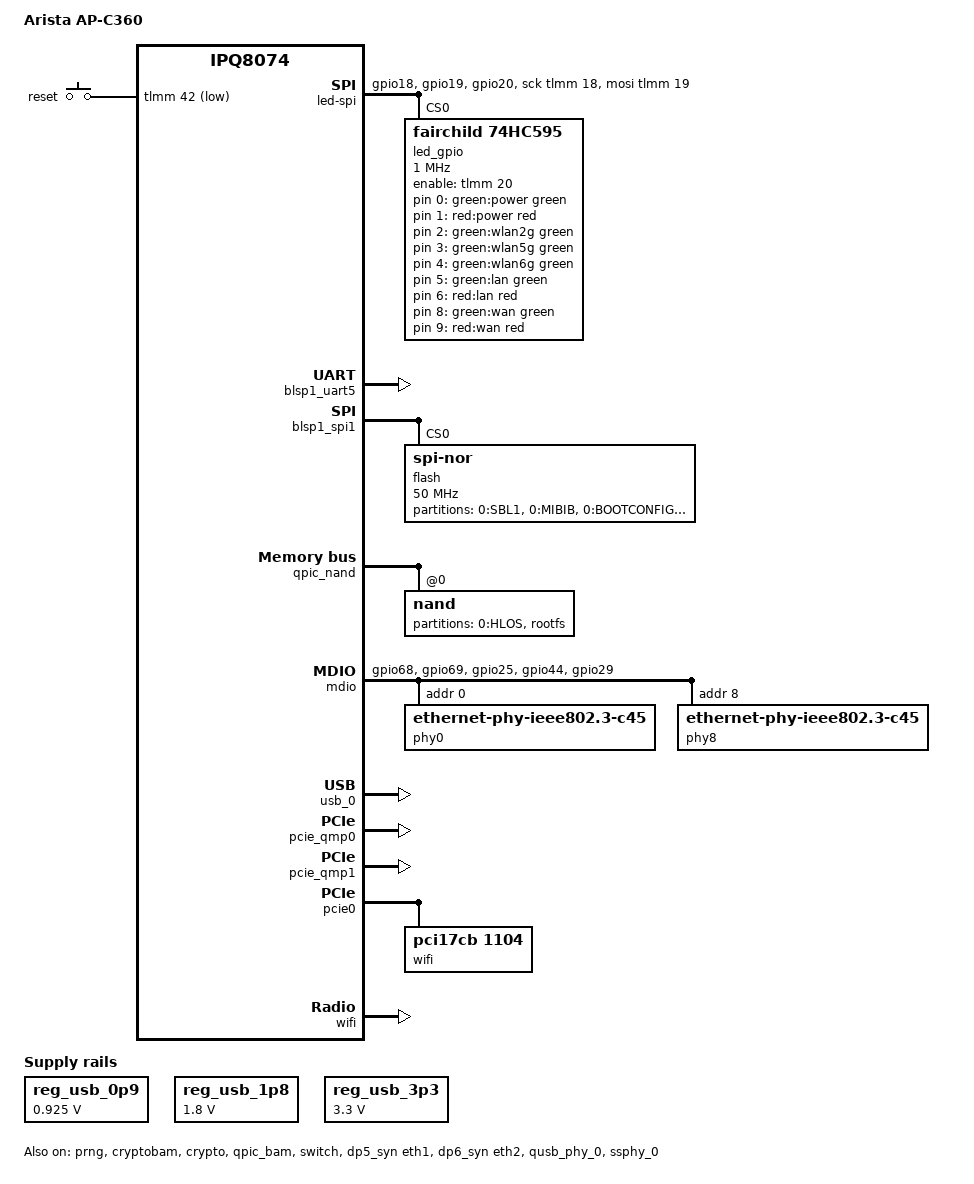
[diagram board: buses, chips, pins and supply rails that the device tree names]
// SPDX-License-Identifier: GPL-2.0-or-later OR MIT

/dts-v1/;

#include "ipq8074.dtsi"
#include "ipq8074-hk-cpu.dtsi"
#include "ipq8074-ess.dtsi"
#include "ipq8074-nss.dtsi"

#include <dt-bindings/gpio/gpio.h>
#include <dt-bindings/input/input.h>
#include <dt-bindings/leds/common.h>

/ {
	model = "Arista AP-C360";
	compatible = "arista,c360", "qcom,ipq8074";

	aliases {
		serial0 = &blsp1_uart5;
		ethernet0 = &dp5_syn;
		ethernet1 = &dp6_syn;
		label-mac-device = &dp5_syn;

		led-boot = &led_power_green;
		led-failsafe = &led_power_red;
		led-running = &led_power_green;
		led-upgrade = &led_power_red;
	};

	chosen {
		stdout-path = "serial0:115200n8";
		bootargs-append = " ubi.mtd=rootfs ubi.block=0,rootfs root=/dev/ubiblock0_0 rootfstype=squashfs rootwait coherent_pool=2M pcie_aspm=off";
	};

	keys {
		compatible = "gpio-keys";
		pinctrl-0 = <&button_pins>;
		pinctrl-names = "default";

		reset {
			label = "reset";
			gpios = <&tlmm 42 GPIO_ACTIVE_LOW>;
			linux,code = <KEY_RESTART>;
			debounce-interval = <60>;
		};
	};

	led-spi {
		compatible = "spi-gpio";
		pinctrl-0 = <&led_spi_pins>;
		pinctrl-names = "default";
		#address-cells = <1>;
		#size-cells = <0>;

		sck-gpios = <&tlmm 18 GPIO_ACTIVE_HIGH>;
		mosi-gpios = <&tlmm 19 GPIO_ACTIVE_HIGH>;

		led_gpio: led-gpio@0 {
			compatible = "fairchild,74hc595";
			reg = <0>;
			gpio-controller;
			#gpio-cells = <2>;
			registers-number = <2>;
			enable-gpios = <&tlmm 20 GPIO_ACTIVE_HIGH>;
			spi-max-frequency = <1000000>;
		};
	};

	leds {
		compatible = "gpio-leds";

		led_power_green: power-green {
			label = "green:power";
			color = <LED_COLOR_ID_GREEN>;
			function = LED_FUNCTION_POWER;
			gpios = <&led_gpio 0 GPIO_ACTIVE_HIGH>;
			default-state = "on";
		};

		led_power_red: power-red {
			label = "red:power";
			color = <LED_COLOR_ID_RED>;
			function = LED_FUNCTION_POWER;
			gpios = <&led_gpio 1 GPIO_ACTIVE_HIGH>;
			default-state = "off";
		};

		led_wlan2g_green: wlan2g-green {
			label = "green:wlan2g";
			color = <LED_COLOR_ID_GREEN>;
			function = LED_FUNCTION_WLAN_2GHZ;
			gpios = <&led_gpio 2 GPIO_ACTIVE_HIGH>;
			default-state = "off";
		};

		led_wlan5g_green: wlan5g-green {
			label = "green:wlan5g";
			color = <LED_COLOR_ID_GREEN>;
			function = LED_FUNCTION_WLAN_5GHZ;
			gpios = <&led_gpio 3 GPIO_ACTIVE_HIGH>;
			default-state = "off";
		};

		led_wlan6g_green: wlan6g-green {
			label = "green:wlan6g";
			color = <LED_COLOR_ID_GREEN>;
			function = LED_FUNCTION_WLAN_6GHZ;
			gpios = <&led_gpio 4 GPIO_ACTIVE_HIGH>;
			default-state = "off";
		};

		led_lan_green: lan-green {
			label = "green:lan";
			color = <LED_COLOR_ID_GREEN>;
			function = LED_FUNCTION_LAN;
			gpios = <&led_gpio 5 GPIO_ACTIVE_HIGH>;
			default-state = "off";
		};

		led_lan_red: lan-red {
			label = "red:lan";
			color = <LED_COLOR_ID_RED>;
			function = LED_FUNCTION_LAN;
			gpios = <&led_gpio 6 GPIO_ACTIVE_HIGH>;
			default-state = "off";
		};

		led_wan_green: wan-green {
			label = "green:wan";
			color = <LED_COLOR_ID_GREEN>;
			function = LED_FUNCTION_WAN;
			gpios = <&led_gpio 8 GPIO_ACTIVE_HIGH>;
			default-state = "off";
		};

		led_wan_red: wan-red {
			label = "red:wan";
			color = <LED_COLOR_ID_RED>;
			function = LED_FUNCTION_WAN;
			gpios = <&led_gpio 9 GPIO_ACTIVE_HIGH>;
			default-state = "off";
		};
	};

	reg_usb_0p9: regulator-usb-0p9 {
		compatible = "regulator-fixed";
		regulator-name = "usb_0p9";
		regulator-min-microvolt = <925000>;
		regulator-max-microvolt = <925000>;
		regulator-always-on;
	};

	reg_usb_1p8: regulator-usb-1p8 {
		compatible = "regulator-fixed";
		regulator-name = "usb_1p8";
		regulator-min-microvolt = <1800000>;
		regulator-max-microvolt = <1800000>;
		regulator-always-on;
	};

	reg_usb_3p3: regulator-usb-3p3 {
		compatible = "regulator-fixed";
		regulator-name = "usb_3p3";
		regulator-min-microvolt = <3300000>;
		regulator-max-microvolt = <3300000>;
		regulator-always-on;
	};
};

&tlmm {
	button_pins: button-pins {
		reset-pins {
			pins = "gpio42";
			function = "gpio";
			drive-strength = <8>;
			bias-pull-up;
		};
	};

	led_spi_pins: led-spi-pins {
		led-clock {
			pins = "gpio18";
			function = "gpio";
			drive-strength = <8>;
			bias-pull-down;
		};

		led-data {
			pins = "gpio19";
			function = "gpio";
			drive-strength = <8>;
			bias-pull-down;
		};

		led-enable {
			pins = "gpio20";
			function = "gpio";
			drive-strength = <8>;
			bias-pull-up;
			output-high;
		};
	};

	mdio_pins: mdio-pins {
		mdc {
			pins = "gpio68";
			function = "mdc";
			drive-strength = <8>;
			bias-pull-up;
		};

		mdio {
			pins = "gpio69";
			function = "mdio";
			drive-strength = <8>;
			bias-pull-up;
		};
	};

	mdio_extra_pins: mdio-extra-pins {
		phy-gpios {
			pins = "gpio25", "gpio44";
			function = "gpio";
			drive-strength = <8>;
			bias-pull-up;
		};

		phy-power {
			pins = "gpio29";
			function = "gpio";
			drive-strength = <8>;
			bias-pull-up;
			output-high;
		};
	};
};

&blsp1_uart5 {
	status = "okay";
};

&prng {
	status = "okay";
};

&cryptobam {
	status = "okay";
};

&crypto {
	status = "okay";
};

&blsp1_spi1 {
	cs-select = <0>;
	status = "okay";

	flash@0 {
		compatible = "jedec,spi-nor";
		reg = <0>;
		spi-max-frequency = <50000000>;

		partitions {
			compatible = "fixed-partitions";
			#address-cells = <1>;
			#size-cells = <1>;

			partition@0 {
				label = "0:SBL1";
				reg = <0x0 0x50000>;
				read-only;
			};

			partition@50000 {
				label = "0:MIBIB";
				reg = <0x50000 0x10000>;
				read-only;
			};

			partition@60000 {
				label = "0:BOOTCONFIG";
				reg = <0x60000 0x20000>;
			};

			partition@80000 {
				label = "0:BOOTCONFIG1";
				reg = <0x80000 0x20000>;
			};

			partition@a0000 {
				label = "0:QSEE";
				reg = <0xa0000 0x180000>;
				read-only;
			};

			partition@220000 {
				label = "0:QSEE_1";
				reg = <0x220000 0x180000>;
				read-only;
			};

			partition@3a0000 {
				label = "0:DEVCFG";
				reg = <0x3a0000 0x10000>;
				read-only;
			};

			partition@3b0000 {
				label = "0:DEVCFG_1";
				reg = <0x3b0000 0x10000>;
				read-only;
			};

			partition@3c0000 {
				label = "0:APDP";
				reg = <0x3c0000 0x10000>;
				read-only;
			};

			partition@3d0000 {
				label = "0:APDP_1";
				reg = <0x3d0000 0x10000>;
				read-only;
			};

			partition@3e0000 {
				label = "0:RPM";
				reg = <0x3e0000 0x40000>;
				read-only;
			};

			partition@420000 {
				label = "0:RPM_1";
				reg = <0x420000 0x40000>;
				read-only;
			};

			partition@460000 {
				label = "0:CDT";
				reg = <0x460000 0x10000>;
				read-only;
			};

			partition@470000 {
				label = "0:CDT_1";
				reg = <0x470000 0x10000>;
				read-only;
			};

			partition@480000 {
				label = "0:APPSBLENV";
				reg = <0x480000 0x10000>;
			};

			partition@490000 {
				label = "0:APPSBL";
				reg = <0x490000 0x100000>;
				read-only;
			};

			partition@590000 {
				label = "0:APPSBL_1";
				reg = <0x590000 0x100000>;
				read-only;
			};

			partition@690000 {
				label = "0:ART";
				reg = <0x690000 0x100000>;
				read-only;
			};

			partition@790000 {
				label = "0:ETHPHYFW";
				reg = <0x790000 0x80000>;
				read-only;
			};

			partition@810000 {
				label = "HLOS_BAK";
				reg = <0x810000 0x1000000>;
			};

			partition@1810000 {
				label = "CONFIG";
				reg = <0x1810000 0x400000>;
			};

			partition@1c10000 {
				label = "DEVCERT";
				reg = <0x1c10000 0x20000>;
			};

			partition@1c30000 {
				label = "RESERVED1";
				reg = <0x1c30000 0x20000>;
			};

			partition@1c50000 {
				label = "RESERVED2";
				reg = <0x1c50000 0x3b0000>;
			};
		};
	};
};

&qpic_bam {
	status = "okay";
};

&qpic_nand {
	status = "okay";

	nand@0 {
		reg = <0>;
		nand-ecc-strength = <8>;
		nand-ecc-step-size = <512>;
		nand-bus-width = <8>;

		partitions {
			compatible = "fixed-partitions";
			#address-cells = <1>;
			#size-cells = <1>;

			partition@0 {
				label = "0:HLOS";
				reg = <0x0 0x1000000>;
			};

			partition@1000000 {
				label = "rootfs";
				reg = <0x1000000 0x3f000000>;
			};
		};
	};
};

&mdio {
	status = "okay";
	pinctrl-0 = <&mdio_pins>, <&mdio_extra_pins>;
	pinctrl-names = "default";

	phy0: ethernet-phy@0 {
		compatible = "ethernet-phy-ieee802.3-c45";
		reg = <0>;
		#thermal-sensor-cells = <0>;
	};

	phy8: ethernet-phy@8 {
		compatible = "ethernet-phy-ieee802.3-c45";
		reg = <8>;
		#thermal-sensor-cells = <0>;
	};
};

&switch {
	status = "okay";

	switch_lan_bmp = <0x20>;
	switch_wan_bmp = <0x40>;
	switch_mac_mode = <0xff>;
	switch_mac_mode1 = <0xd>;
	switch_mac_mode2 = <0xd>;

	qcom,port_phyinfo {
		port@5 {
			port_id = <5>;
			phy_address = <8>;
			compatible = "ethernet-phy-ieee802.3-c45";
			ethernet-phy-ieee802.3-c45;
		};

		port@6 {
			port_id = <6>;
			phy_address = <0>;
			compatible = "ethernet-phy-ieee802.3-c45";
			ethernet-phy-ieee802.3-c45;
		};
	};
};

&edma {
	status = "okay";
};

&dp5_syn {
	status = "okay";
	phy-mode = "usxgmii";
	phy-handle = <&phy8>;
	label = "eth1";
};

&dp6_syn {
	status = "okay";
	phy-mode = "usxgmii";
	phy-handle = <&phy0>;
	label = "eth2";
};

&qusb_phy_0 {
	status = "okay";
	vdd-supply = <&reg_usb_0p9>;
	vdda-pll-supply = <&reg_usb_1p8>;
	vdda-phy-dpdm-supply = <&reg_usb_3p3>;
};

&ssphy_0 {
	status = "okay";
	vdda-phy-supply = <&reg_usb_0p9>;
	vdda-pll-supply = <&reg_usb_1p8>;
};

&usb_0 {
	status = "okay";
};

&qusb_phy_1 {
	status = "disabled";
};

&ssphy_1 {
	status = "disabled";
};

&usb_1 {
	status = "disabled";
};

&pcie_qmp0 {
	status = "okay";
};

&pcie_qmp1 {
	status = "okay";
};

&pcie0 {
	status = "okay";

	perst-gpio = <&tlmm 58 GPIO_ACTIVE_LOW>;

	pcie@0 {
		wifi@0,0 {
			status = "okay";

			compatible = "pci17cb,1104";
			reg = <0x00010000 0 0 0 0>;

			qcom,ath11k-fw-memory-mode = <1>;
			qcom,ath11k-calibration-variant = "Arista-C360-qcn9074-6g";
		};
	};
};

/*
 * The second PCIe radio is the original scan/spectral QCN9072. The vendor
 * firmware drives it through QSDK specialvap/qca_spectral, while standard
 * ath11k/mac80211 scans wedge WMI on this card. Keep it disabled for now.
 */
&pcie1 {
	status = "disabled";
};

&wifi {
	status = "okay";
	qcom,ath11k-fw-memory-mode = <1>;
	qcom,ath11k-calibration-variant = "Arista-C360";
};

&{/thermal-zones} {
	aqr0-thermal {
		polling-delay = <2000>;
		thermal-sensors = <&phy0>;

		trips {
			aqr0_crit: critical {
				temperature = <125000>;
				hysteresis = <2000>;
				type = "critical";
			};
		};
	};

	aqr8-thermal {
		polling-delay = <2000>;
		thermal-sensors = <&phy8>;

		trips {
			aqr8_crit: critical {
				temperature = <125000>;
				hysteresis = <2000>;
				type = "critical";
			};
		};
	};
};
